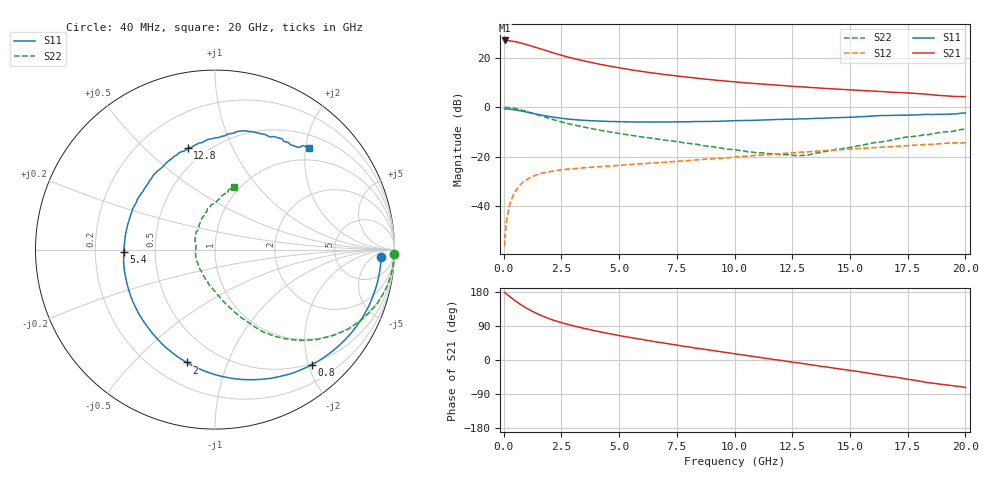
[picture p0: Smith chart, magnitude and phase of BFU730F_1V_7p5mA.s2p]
! Filename:  P:\Prog\Test\Noise\ATS_data\Testdata_Net\Split files Spar\BFU730_2W_B1_1V_1mA_30mA_Bias5_D.s2p
! Date/Time: Fri 29/Apr/2011 14:16:12
! BFU730_2W_B1_1V_1mA_30mA_Bias5_R.s2p
! MDIF S-parameter v. bias file
! BFU730_2W_B1_1V_1mA_30mA
! Date/time Thu Mar 17 14:34:31 2011
! VAR V_out= 1.0001
! VAR I_out= 7.4800
! VAR V_in= 0.8022
! VAR I_in= 0.0227
! Device data file deembeded for feedlines and parallel
! Original file: \Split files Spar\BFU730_2W_B1_1V_1mA_30mA_Bias5_R.s2p
! Feed-files: PR003V01_101208_Feed1.s2p, PR003V01_101208_Feed2.s2p
! Parallel-file: PR003V01_101208_Par.s2p
# MHz S MA R 50
!  Freq-MHz  S11-mag  S11-arg  S21-mag  S21-arg  S12-mag  S12-arg  S22-mag  S22-arg
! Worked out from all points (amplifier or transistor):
!   167 points, 40 MHz to 20 GHz, reference 50 ohm
!   highest |S21| = 27.0 dB at 50 MHz (marker M1)
!   |S21| within 3 dB of that: start of sweep to 1.466 GHz
!   unconditionally stable (mu >= 1): 6.254 GHz to 17.83 GHz
!   at 550 MHz: K = 0.09, MSG = 29.8 dB, |S12| = -33.3 dB
!   at 4.2 GHz: K = 0.75, MSG = 20.6 dB, |S12| = -23.9 dB
!   at 20 GHz: K = 0.89, MSG = 9.3 dB, |S12| = -14.3 dB
!   S11 on the Smith chart (normalised r, x): 40 MHz: 19, -12; 800 MHz: 0.48, -2.05; 2 GHz: 0.33, -0.72; 5.4 GHz: 0.33, -0.01; 12.8 GHz: 0.40, +0.69; 20 GHz: 0.74, +2.07
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40  0.9268 -2.6  22.26 178.3  0.001582 88.3  0.9963 -1.3
50  0.9269 -3.8  22.32 177.3  0.002501 84.2  0.9961 -1.8
60  0.9234 -3.8  22.05 177.0  0.002443 84.0  0.9972 -2.1
80  0.9262 -5.2  22.27 176.2  0.003262 87.6  0.9971 -2.9
240  0.9177 -15.7  22.06 168.2  0.009844 82.3  0.9873 -9.4
420  0.899 -27.2  21.47 159.8  0.01696 75.8  0.9622 -16.3
600  0.8718 -38.4  20.68 151.8  0.0234 69.5  0.9242 -22.8
800  0.838 -50.1  19.59 143.7  0.02974 63.1  0.8759 -29.3
1050  0.7919 -63.4  18.09 134.7  0.03617 56.3  0.8095 -36.4
1350  0.7398 -78.0  16.42 125.0  0.04212 49.8  0.732 -43.5
1650  0.6932 -90.9  14.81 116.8  0.04666 44.6  0.663 -49.2
2000  0.648 -104.1  13.17 108.3  0.05054 39.8  0.5929 -54.9
2600  0.5922 -122.9  10.88 96.9  0.05552 34.1  0.4934 -62.1
3400  0.5495 -142.6  8.796 84.6  0.05995 29.3  0.4074 -68.9
4300  0.5241 -160.5  7.183 72.8  0.06441 26.1  0.3376 -75.4
5400  0.5093 -178.5  5.831 60.2  0.06977 23.3  0.2778 -82.5
6800  0.5059 162.9  4.697 46.0  0.07694 20.5  0.2242 -92.3
10200  0.5406 127.7  3.213 14.6  0.1012 12.5  0.1346 -130.0
12800  0.5863 105.0  2.609 -8.0  0.124 3.1  0.1059 177.0
13400  0.5939 100.2  2.495 -13.4  0.1295 -0.2  0.1158 162.4
16800  0.6893 72.5  2.015 -43.9  0.1608 -17.1  0.2173 101.8
20000  0.7718 47.1  1.642 -72.6  0.1926 -36.8  0.3628 73.0
